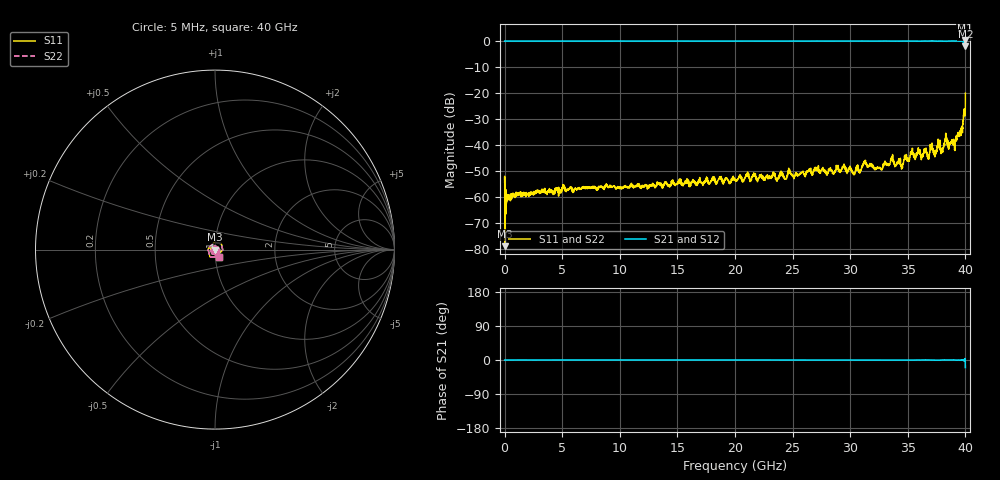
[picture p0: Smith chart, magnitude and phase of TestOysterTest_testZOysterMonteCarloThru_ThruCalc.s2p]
! File created by SignalIntegrity v1.1.1: Signal and Power Integrity Tools
! https://github.com/TeledyneLeCroy/SignalIntegrity
# MHz MA S R 50.0
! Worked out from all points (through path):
!   8000 points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, 5 MHz to 40 GHz, reference 50 ohm
!   highest |S21| = 0.23 dB at 39.95 GHz (marker M1); lowest = -2.0 dB at 40 GHz (marker M2)
!   lowest |S11| = -79.0 dB at 25 MHz (marker M3), VSWR 1.00, Z = 50 + j0.00597 ohm
!   |S11| at or under -10 dB: start of sweep to end of sweep
!   |S22| runs from -74.7 to -20.1 dB; largest |S21 - S12| = 0.0014
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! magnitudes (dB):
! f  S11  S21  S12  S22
! 5 MHz  -54.4  0.0  0.0  -50.8
! 25 MHz  -79.0  0.0  0.0  -74.7
! 220 MHz  -61.1  0.0  0.0  -61.2
! 6.675 GHz  -57.0  0.0  0.0  -57.0
! 13.34 GHz  -55.1  0.0  0.0  -55.1
! 20 GHz  -53.7  0.0  0.0  -53.7
! 26.67 GHz  -51.4  0.0  0.0  -51.4
! 29.43 GHz  -48.4  0.0  0.0  -48.4
! 30.28 GHz  -50.9  0.0  0.0  -50.9
! 31.27 GHz  -46.9  0.0  0.0  -46.9
! 32.6 GHz  -49.0  0.0  0.0  -49.0
! 33.34 GHz  -48.0  0.0  0.0  -48.0
! 34.44 GHz  -48.4  0.0  0.0  -48.4
! 35.37 GHz  -42.7  0.0  0.0  -42.7
! 36.73 GHz  -43.7  0.0  0.0  -43.7
! 37.66 GHz  -40.2  0.0  0.0  -40.2
! 38.01 GHz  -42.5  0.0  0.0  -42.5
! 38.3 GHz  -35.7  -0.1  -0.1  -35.7
! 39.05 GHz  -40.0  0.0  0.0  -40.0
! 39.61 GHz  -35.0  0.0  0.0  -35.0
! 39.95 GHz  -28.2  0.2  0.2  -28.2
! 40 GHz  -20.1  -2.0  -2.0  -20.1
